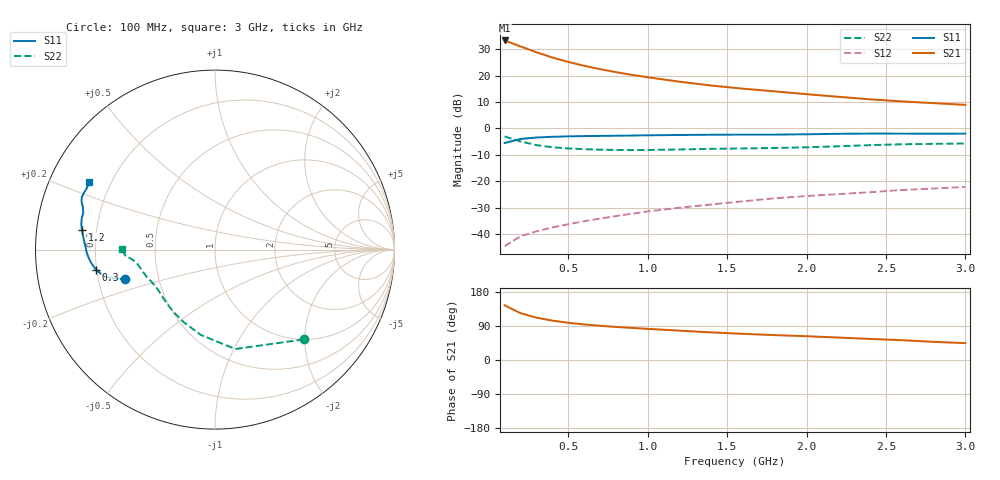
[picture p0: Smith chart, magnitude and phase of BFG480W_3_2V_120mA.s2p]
! Filename: 3_2120BFG480.001
! Title: BFG480W
! Bias: Vce=3.2V; Ic=120mA
! Company: Philips Semiconductors NL
! User: Quality&Reliability T&D
! Measure time: 10 Nov 1999 / 11:58:23
#  MHz  S  MA  R 50
! Freq  S11  S21  S12  S22  :
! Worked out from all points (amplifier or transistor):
!   20 points, 100 MHz to 3 GHz, reference 50 ohm
!   highest |S21| = 33.3 dB at 100 MHz (marker M1)
!   |S21| within 3 dB of that: start of sweep to 233.8 MHz
!   unconditionally stable (mu >= 1): 592.6 MHz to end of sweep
!   at 400 MHz: K = 0.89, MSG = 32.2 dB, |S12| = -37.5 dB
!   at 1.2 GHz: K = 1.10, MAG = 22.0 dB, |S12| = -30.0 dB
!   at 3 GHz: K = 1.07, MAG = 14.0 dB, |S12| = -22.1 dB
!   S11 on the Smith chart (normalised r, x): 100 MHz: 0.32, -0.15; 300 MHz: 0.20, -0.08; 1.2 GHz: 0.14, +0.07; 3 GHz: 0.12, +0.25
100  0.5283 -161.7  46.1 144.3  0.005898 68.3  0.7034 -45.4
200  0.6305 -165.9  35.58 123.6  0.009073 61.4  0.5654 -78.4
300  0.6715 -170.3  27.58 111.8  0.01127 61.4  0.4821 -99.4
400  0.693 -173.7  21.94 103.9  0.01333 63.4  0.4397 -113.6
500  0.7055 -176.3  18.11 98.3  0.01535 65.7  0.417 -123.6
600  0.7146 -178.6  15.29 93.9  0.01746 67.6  0.4038 -130.8
700  0.7198 179.5  13.22 90.4  0.01964 69.5  0.3955 -136.4
800  0.7253 177.6  11.6 87.3  0.0219 71.1  0.3902 -141.0
900  0.7322 175.9  10.31 84.7  0.0242 72.7  0.3887 -145.0
1000  0.7385 174.3  9.269 82.2  0.02673 73.5  0.3899 -148.5
1200  0.7498 171.5  7.646 77.5  0.03151 74.8  0.3987 -154.2
1400  0.758 169.3  6.467 72.9  0.03627 75.5  0.4099 -158.3
1600  0.7626 167.0  5.64 69.0  0.04169 76.0  0.417 -161.6
1800  0.7622 164.4  5.016 65.6  0.0475 76.3  0.4253 -165.1
2000  0.7723 162.3  4.438 62.8  0.05243 76.8  0.438 -169.1
2200  0.7899 160.3  3.958 59.3  0.05697 76.6  0.4578 -172.5
2400  0.7976 158.5  3.544 55.6  0.0619 75.9  0.4816 -174.7
2600  0.7961 156.8  3.239 52.3  0.06816 75.1  0.5002 -176.1
2800  0.7917 154.5  3.001 47.9  0.07282 73.6  0.5094 -177.9
3000  0.7964 151.8  2.787 44.5  0.07824 72.8  0.5173 179.3
